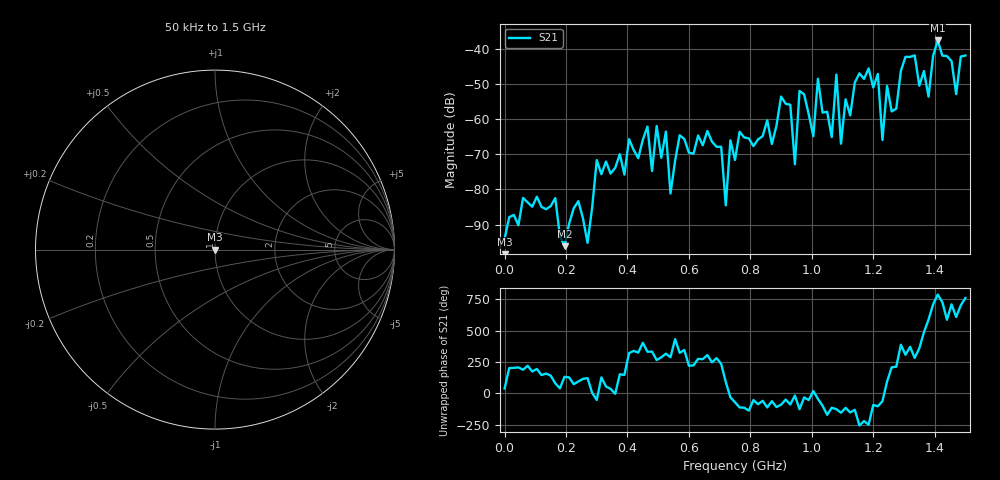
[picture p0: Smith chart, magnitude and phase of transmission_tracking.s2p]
! Created with skrf 1.8.0 (http://scikit-rf.org).
# Hz S RI R 50.0
!freq ReS11 ImS11 ReS21 ImS21 ReS12 ImS12 ReS22 ImS22
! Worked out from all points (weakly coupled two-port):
!   101 points, 50 kHz to 1.5 GHz, reference 50 ohm
!   highest |S21| = -37.65 dB at 1.41 GHz (marker M1); lowest = -96.2 dB at 195 MHz (marker M2)
!   lowest |S11| = - dB at 50 kHz (marker M3), VSWR 1.00, Z = 50 + j0 ohm
!   |S11| at or under -10 dB: start of sweep to end of sweep
!   S12 and S22 are empty: the file has one direction only
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50000  0 0  1.56e-05 1.23e-05  0 0  0 0
1.950435e8  0 0  -1.03e-05 1.17e-05  0 0  0 0
2.550415e8  0 0  -1.64e-05 3.52e-05  0 0  0 0
5.10033e8  0 0  8.27e-05 -0.000269  0 0  0 0
7.50025e8  0 0  8.18e-05 -0.000249  0 0  0 0
9.0002e8  0 0  -3.22e-05 -0.00209  0 0  0 0
9.450185e8  0 0  0.000216 -6.97e-05  0 0  0 0
9.60018e8  0 0  -0.00151 -0.002  0 0  0 0
1.005016e9  0 0  0.000541 0.000177  0 0  0 0
1.020016e9  0 0  0.00265 -0.00265  0 0  0 0
1.065014e9  0 0  -0.000236 -0.000503  0 0  0 0
1.080014e9  0 0  -0.00257 -0.00342  0 0  0 0
1.095014e9  0 0  -0.000404 -0.000189  0 0  0 0
1.155012e9  0 0  -0.00104 0.00434  0 0  0 0
1.21501e9  0 0  -0.00102 -0.00426  0 0  0 0
1.230009e9  0 0  0.000229 -0.000447  0 0  0 0
1.260008e9  0 0  -0.00114 -0.000583  0 0  0 0
1.305006e9  0 0  0.00464 -0.0061  0 0  0 0
1.380004e9  0 0  -0.00141 -0.00154  0 0  0 0
1.410003e9  0 0  0.00498 0.0121  0 0  0 0
1.470001e9  0 0  -0.000823 -0.00211  0 0  0 0
1.5e9  0 0  0.00614 0.00514  0 0  0 0
